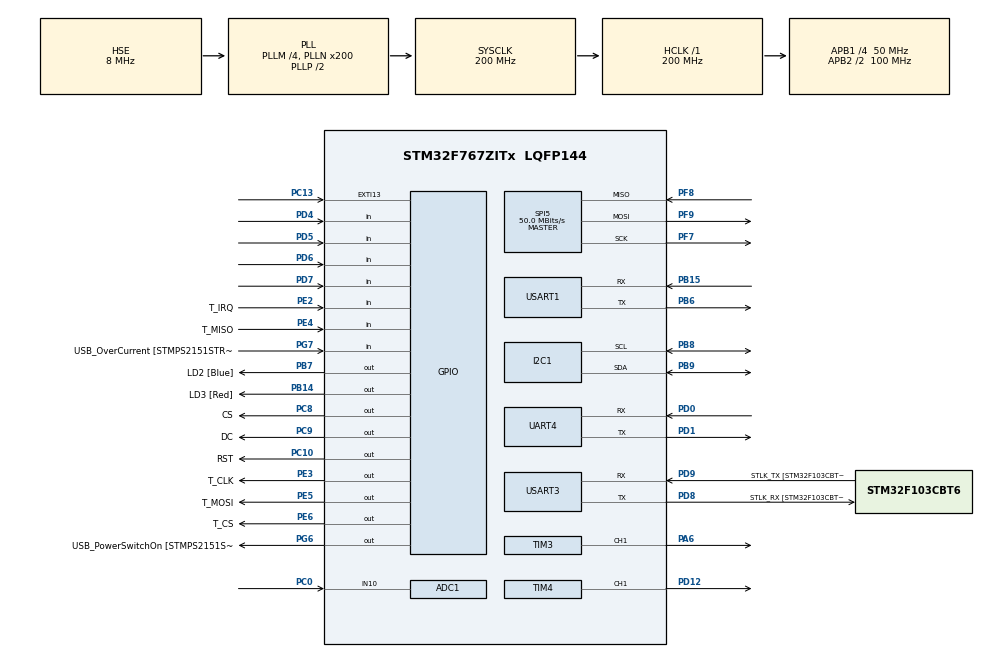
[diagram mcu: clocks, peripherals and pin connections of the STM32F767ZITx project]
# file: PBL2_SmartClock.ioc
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ADC1.Channel-0\#ChannelRegularConversion=ADC_CHANNEL_10
ADC1.ContinuousConvMode=ENABLE
ADC1.EOCSelection=ADC_EOC_SEQ_CONV
ADC1.NbrOfConversionFlag=1
ADC1.Rank-0\#ChannelRegularConversion=1
ADC1.SamplingTime-0\#ChannelRegularConversion=ADC_SAMPLETIME_3CYCLES
ADC1.master=1
CORTEX_M7.ART_ACCLERATOR_ENABLE=1
CORTEX_M7.CPU_DCache=Enabled
CORTEX_M7.CPU_ICache=Enabled
CORTEX_M7.PREFETCH_ENABLE=1
I2C1.Timing=0x00C0EAFF
Mcu.Family=STM32F7
Mcu.Name=STM32F767ZITx
Mcu.Package=LQFP144
NVIC.EXTI15_10_IRQn=true\:3\:0\:true\:false\:true\:true\:true
NVIC.PriorityGroup=NVIC_PRIORITYGROUP_4
NVIC.TIM1_UP_TIM10_IRQn=true\:1\:0\:true\:false\:true\:true\:true
NVIC.TIM2_IRQn=true\:2\:0\:true\:false\:true\:true\:true
PA1.GPIO_Label=RMII_REF_CLK [LAN8742A-CZ-TR_REFCLK0]
PA1.Signal=ETH_REF_CLK
PA13.GPIO_Label=TMS
PA13.Mode=Serial_Wire
PA13.Signal=SYS_JTMS-SWDIO
PA14.GPIO_Label=TCK
PA14.Mode=Serial_Wire
PA14.Signal=SYS_JTCK-SWCLK
PA2.GPIO_Label=RMII_MDIO [LAN8742A-CZ-TR_MDIO]
PA2.Signal=ETH_MDIO
PA6.Signal=S_TIM3_CH1
PA7.GPIO_Label=RMII_CRS_DV [LAN8742A-CZ-TR_CRS_DV]
PA7.Signal=ETH_CRS_DV
PB13.GPIO_Label=RMII_TXD1 [LAN8742A-CZ-TR_TXD1]
PB13.Signal=ETH_TXD1
PB14.GPIO_Label=LD3 [Red]
PB14.Signal=GPIO_Output
PB15.Mode=Asynchronous
PB15.Signal=USART1_RX
PB3.GPIO_Label=SWO
PB3.Signal=SYS_JTDO-SWO
PB6.Mode=Asynchronous
PB6.Signal=USART1_TX
PB7.GPIO_Label=LD2 [Blue]
PB7.Signal=GPIO_Output
PB8.Mode=I2C
PB8.Signal=I2C1_SCL
PB9.Mode=I2C
PB9.Signal=I2C1_SDA
PC0.Signal=ADCx_IN10
PC1.GPIO_Label=RMII_MDC [LAN8742A-CZ-TR_MDC]
PC1.Signal=ETH_MDC
PC10.GPIO_Label=RST
PC10.GPIO_Speed=GPIO_SPEED_FREQ_VERY_HIGH
PC10.Signal=GPIO_Output
PC13.GPIO_ModeDefaultEXTI=GPIO_MODE_IT_FALLING
PC13.Signal=GPXTI13
PC14/OSC32_IN.Mode=LSE-External-Oscillator
PC14/OSC32_IN.Signal=RCC_OSC32_IN
PC15/OSC32_OUT.Mode=LSE-External-Oscillator
PC15/OSC32_OUT.Signal=RCC_OSC32_OUT
PC4.GPIO_Label=RMII_RXD0 [LAN8742A-CZ-TR_RXD0]
PC4.Signal=ETH_RXD0
PC5.GPIO_Label=RMII_RXD1 [LAN8742A-CZ-TR_RXD1]
PC5.Signal=ETH_RXD1
PC8.GPIO_Label=CS
PC8.GPIO_Speed=GPIO_SPEED_FREQ_VERY_HIGH
PC8.Signal=GPIO_Output
PC9.GPIO_Label=DC
PC9.GPIO_Speed=GPIO_SPEED_FREQ_VERY_HIGH
PC9.Signal=GPIO_Output
PD0.Mode=Asynchronous
PD0.Signal=UART4_RX
PD1.Mode=Asynchronous
PD1.Signal=UART4_TX
PD12.Signal=S_TIM4_CH1
PD4.Signal=GPIO_Input
PD5.Signal=GPIO_Input
PD6.Signal=GPIO_Input
PD7.Signal=GPIO_Input
PD8.GPIO_Label=STLK_RX [STM32F103CBT6_PA3]
PD8.Mode=Asynchronous
PD8.Signal=USART3_TX
PD9.GPIO_Label=STLK_TX [STM32F103CBT6_PA2]
PD9.Mode=Asynchronous
PD9.Signal=USART3_RX
PE2.GPIO_Label=T_IRQ
PE2.Signal=GPIO_Input
PE3.GPIO_Label=T_CLK
PE3.GPIO_Speed=GPIO_SPEED_FREQ_VERY_HIGH
PE3.Signal=GPIO_Output
PE4.GPIO_Label=T_MISO
PE4.Signal=GPIO_Input
PE5.GPIO_Label=T_MOSI
PE5.GPIO_Speed=GPIO_SPEED_FREQ_VERY_HIGH
PE5.Signal=GPIO_Output
PE6.GPIO_Label=T_CS
PE6.GPIO_Speed=GPIO_SPEED_FREQ_VERY_HIGH
PE6.Signal=GPIO_Output
PF7.Mode=Full_Duplex_Master
PF7.Signal=SPI5_SCK
PF8.Mode=Full_Duplex_Master
PF8.Signal=SPI5_MISO
PF9.Mode=Full_Duplex_Master
PF9.Signal=SPI5_MOSI
PG11.GPIO_Label=RMII_TX_EN [LAN8742A-CZ-TR_TXEN]
PG11.Signal=ETH_TX_EN
PG13.GPIO_Label=RMII_TXD0 [LAN8742A-CZ-TR_TXD0]
PG13.Signal=ETH_TXD0
PG6.GPIO_Label=USB_PowerSwitchOn [STMPS2151STR_EN]
PG6.Signal=GPIO_Output
PG7.GPIO_Label=USB_OverCurrent [STMPS2151STR_FAULT]
PG7.Signal=GPIO_Input
PH0/OSC_IN.GPIO_Label=MCO [STM32F103CBT6_PA8]
PH0/OSC_IN.Mode=HSE-External-Clock-Source
PH0/OSC_IN.Signal=RCC_OSC_IN
PH1/OSC_OUT.Mode=HSE-External-Clock-Source
PH1/OSC_OUT.Signal=RCC_OSC_OUT
ProjectManager.HeapSize=0x200
ProjectManager.StackSize=0x400
ProjectManager.TargetToolchain=STM32CubeIDE
RCC.48MHZClocksFreq_Value=24000000
RCC.AHBFreq_Value=200000000
RCC.APB1CLKDivider=RCC_HCLK_DIV4
RCC.APB1Freq_Value=50000000
RCC.APB1TimFreq_Value=100000000
RCC.APB2CLKDivider=RCC_HCLK_DIV2
RCC.APB2Freq_Value=100000000
RCC.APB2TimFreq_Value=200000000
RCC.CortexFreq_Value=200000000
RCC.HCLKFreq_Value=200000000
RCC.HSE_VALUE=8000000
RCC.HSI_VALUE=16000000
RCC.PLLM=4
RCC.PLLMUL=RCC_PLL_MUL9
RCC.PLLN=200
RCC.PLLQ=9
RCC.PLLSourceVirtual=RCC_PLLSOURCE_HSE
RCC.PRESCALERUSB=RCC_USBCLKSOURCE_PLL_DIV1_5
RCC.SYSCLKFreq_VALUE=200000000
RCC.SYSCLKSource=RCC_SYSCLKSOURCE_PLLCLK
RCC.SYSCLKSourceVirtual=RCC_SYSCLKSOURCE_PLLCLK
RCC.USBFreq_Value=44444444.44444445
RCC.VCOOutputFreq_Value=400000000
SH.ADCx_IN10.0=ADC1_IN10,IN10
SH.S_TIM3_CH1.0=TIM3_CH1,PWM Generation1 CH1
SH.S_TIM4_CH1.0=TIM4_CH1,PWM Generation1 CH1
SPI5.CalculateBaudRate=50.0 MBits/s
SPI5.DataSize=SPI_DATASIZE_8BIT
SPI5.Direction=SPI_DIRECTION_2LINES
SPI5.Mode=SPI_MODE_MASTER
SPI5.NSSPMode=SPI_NSS_PULSE_DISABLE
SPI5.VirtualType=VM_MASTER
TIM1.ClockDivision=TIM_CLOCKDIVISION_DIV1
TIM1.Period=1000-1
TIM1.Prescaler=200-1
TIM2.CounterMode=TIM_COUNTERMODE_UP
TIM2.Period=50000-1
TIM2.Prescaler=1000-1
TIM3.Channel-PWM\ Generation1\ CH1=TIM_CHANNEL_1
TIM3.Period=100-1
TIM3.Prescaler=250-1
TIM3.Pulse-PWM\ Generation1\ CH1=100-1
TIM4.Channel-PWM\ Generation1\ CH1=TIM_CHANNEL_1
TIM4.Period=1000-1
TIM4.Prescaler=250-1
TIM4.Pulse-PWM\ Generation1\ CH1=1000-1
USART1.VirtualMode-Asynchronous=VM_ASYNC
USART3.VirtualMode-Asynchronous=VM_ASYNC
VP_RNG_VS_RNG.Mode=RNG_Activate
VP_TIM1_VS_ClockSourceINT.Mode=Internal
VP_TIM2_VS_ClockSourceINT.Mode=Internal
VP_TIM3_VS_ClockSourceINT.Mode=Internal
VP_TIM4_VS_ClockSourceINT.Mode=Internal
board=NUCLEO-F767ZI

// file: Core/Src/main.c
/* USER CODE BEGIN Header */
/**
  ******************************************************************************
  * @file           : main.c
  * @brief          : Main program body
  ******************************************************************************
  * @attention
  *
  * <h2><center>&copy; Copyright (c) 2021 STMicroelectronics.
  * All rights reserved.</center></h2>
  *
  * This software component is licensed by ST under BSD 3-Clause license,
  * the "License"; You may not use this file except in compliance with the
  * License. You may obtain a copy of the License at:
  *                        opensource.org/licenses/BSD-3-Clause
  *
  ******************************************************************************
  */
/* USER CODE END Header */
#include "main.h"
#include "adc.h"
#include "i2c.h"
#include "rng.h"
#include "spi.h"
#include "tim.h"
#include "usart.h"
#include "gpio.h"

/* USER CODE BEGIN Includes */
#include "string.h"
#include "stdio.h"
#include "ILI9341_Touchscreen.h"
#include "ILI9341_STM32_Driver.h"
#include "ILI9341_GFX.h"
#include "snow_tiger.h"
#include "am2320.h"
#include "stdbool.h"
#include "sps30.h"
#include "uart_to_mcu.h"

#include "EEPROM.h"
/* USER CODE END Includes */

/* USER CODE BEGIN PV */
/* Private variables ---------------------------------------------------------*/

//Temperature and Humid
int lightPercent = 100;
float temp = 99.9;
float humid = 99.9;
float pmTwoPointFive = 40.0; // ug/m^3
float prevTemp = -1.0;
float prevHumid = -1.0;
float prevPmTwoPointFive = -1.0;

//Alarm
int32_t alarmMinute = 0;
int32_t alarmHour = 0;

//Prev Clock Timer
int32_t prevAlarmMinute = -1;
int32_t prevAlarmHour = -1;

//Clock Timer
uint32_t millisecond = 0;
uint32_t millisecondStopWatch = 0;
uint32_t halfsecond = 0;

int32_t secondNum = 50;
int32_t minuteNum = 37;
int32_t hourNum = 12;

//Prev Clock Timer
int32_t prevSecondNum = -1;
int32_t prevMinuteNum = -1;
int32_t prevHourNum = -1;

//ADC
volatile uint32_t adc_val = 0;

//Timer States
bool halfsecondState = true;

//Text
char Temp_Buffer_text[100];

//Horizontal Clock Screen
uint16_t maxWidth = 200; //300 //Left 50 - right 50
uint16_t offsetWidth = 60;
uint16_t maxHeight = 240;

//Horizontal Date Clock Screen
uint16_t offsetWidthDate = 40;

//Main States
int16_t mode = 0;
int16_t modeEdit = 1;
int16_t prevMode = -1;
int16_t prevModeEdit = -1;

//Button states
bool pressButton1 = false;
bool pressButton2 = false;
bool pressButton3 = false;
bool pressButton4 = false;

bool isPressButton1 = false;
bool isPressButton2 = false;
bool isPressButton3 = false;
bool isPressButton4 = false;

bool userResetButton = false;

//Pm state
bool isPmSend = false;

//Alarm State
bool alarmIsOn = true;
bool alarmIsAlert = false;

//HAL Timers
uint64_t secondCounter = 0;
uint64_t prevSecondCounter = 0;
uint64_t millisecondHAL = 0;

uint64_t pmPrevMillisecondHAL = 0;
uint64_t pmSendPrevMillisecondHAL = 0;
uint64_t buzzerPrevMillisecondHAL = 0;
uint64_t alarmPrevMillisecondHAL = 0;
bool buzzerIsOn = false;
uint8_t alarmNumOfAlert = 0;

//Date Clock
int8_t date = 13; // 1-31
char* dayText[7] = {"SUN", "MON", "TUE", "WED", "THU", "FRI", "SAT"}; // 7 day names
char* monthText[12] = {"JAN", "FEB", "MAR", "APR", "MAY", "JUN", "JUL", "AUG", "SEP", "OCT", "NOV", "DEC"}; // 12 months    0 2 4 6 7 9 11 for 31 days
int8_t dayIndex = 1; // 0-6 only
int8_t monthIndex = 11; // 0-11 only
int16_t year = 2021; // year

//Prev Date Clock
int8_t prevDate = -1; // 1-31
int8_t prevDayIndex = -1; // 7 index day names
int8_t prevMonthIndex = -1; // 12  index months
int16_t prevYear = -1; // year

/* USER CODE END PV */

void SystemClock_Config(void);
/* USER CODE BEGIN PFP */
/* Private function prototypes -----------------------------------------------*/
uint16_t CRC16_2(uint8_t *, uint8_t);
/* USER CODE END PFP */

/* USER CODE BEGIN 0 */

//Buzzer Sound
void buzzerSound(uint32_t delay){

	if(alarmIsAlert == false){
		if(buzzerIsOn == true){
	//		char hexString[30];
	//		sprintf(hexString,"BUZZER....\r\n");
	//		HAL_UART_Transmit(&huart3, (uint8_t*) hexString, strlen(hexString), 1000);

			htim4.Instance->CCR1 = (1000 - 1) * 0.5;
			HAL_TIM_PWM_Start(&htim4, TIM_CHANNEL_1);
		}

		if(buzzerIsOn == true && millisecondHAL - buzzerPrevMillisecondHAL >= delay){
	//		char hexString[30];
	//		sprintf(hexString,"QUIT BUZZER\r\n");
	//		HAL_UART_Transmit(&huart3, (uint8_t*) hexString, strlen(hexString), 1000);

			HAL_TIM_PWM_Stop(&htim4, TIM_CHANNEL_1);
			buzzerIsOn = false;
			buzzerPrevMillisecondHAL = millisecondHAL;

		}
	}else{

		delay += 90;

		if(alarmNumOfAlert >= 60){
			alarmNumOfAlert = 0;
			alarmIsAlert = false;
		}

		if(alarmNumOfAlert % 4 == 0){
			delay += delay*2;
		}

		if(buzzerIsOn == false && millisecondHAL - buzzerPrevMillisecondHAL >= delay && alarmNumOfAlert < 60){
			buzzerIsOn = true;
			buzzerPrevMillisecondHAL = millisecondHAL;
			alarmNumOfAlert++;
		}

		if(buzzerIsOn == true){
//			char hexString[30];
//			sprintf(hexString,"BUZZER....\r\n");
//			HAL_UART_Transmit(&huart3, (uint8_t*) hexString, strlen(hexString), 1000);

			htim4.Instance->CCR1 = (1000 - 1) * 0.5;
			HAL_TIM_PWM_Start(&htim4, TIM_CHANNEL_1);

		}

		if(buzzerIsOn == true && millisecondHAL - buzzerPrevMillisecondHAL >= delay){
//			char hexString[30];
//			sprintf(hexString,"QUIT BUZZER\r\n");
//			HAL_UART_Transmit(&huart3, (uint8_t*) hexString, strlen(hexString), 1000);

			HAL_TIM_PWM_Stop(&htim4, TIM_CHANNEL_1);
			buzzerIsOn = false;
			buzzerPrevMillisecondHAL = millisecondHAL;

		}

	}

}

// Save EEPROM
void saveData(){
	//Clock
	EEPROM_Write_NUM (1, 0, hourNum);
	EEPROM_Write_NUM (2, 0, minuteNum);
	EEPROM_Write_NUM (3, 0, secondNum);

	//Date
	EEPROM_Write_NUM (4, 0, dayIndex);
	EEPROM_Write_NUM (5, 0, date);
	EEPROM_Write_NUM (6, 0, monthIndex);
	EEPROM_Write_NUM (7, 0, year);

	//Alarm
	EEPROM_Write_NUM (8, 0, alarmHour);
	EEPROM_Write_NUM (9, 0, alarmMinute);
	EEPROM_Write_NUM (10, 0, alarmIsOn);
}
// Read EEPROM
void readData(){
	//Clock
	hourNum = EEPROM_Read_NUM (1, 0);
	minuteNum = EEPROM_Read_NUM (2, 0);
	secondNum = EEPROM_Read_NUM (3, 0);

	//Date
	dayIndex = EEPROM_Read_NUM (4, 0);
	date = EEPROM_Read_NUM (5, 0);
	monthIndex = EEPROM_Read_NUM (6, 0);
	year = EEPROM_Read_NUM (7, 0);

	//Alarm
	alarmHour = EEPROM_Read_NUM (8, 0);
	alarmMinute = EEPROM_Read_NUM (9, 0);
	alarmIsOn = EEPROM_Read_NUM (10, 0);
}

// Erase EERPOM
void eraseAllData(){
	for (int i=0; i<512; i++)
	{
	  EEPROM_PageErase(i);
	}
	year = 2021;
	EEPROM_Write_NUM (7, 0, year); // override year
	readData(); // Read from Clean EEPROM
}

void checkResetData(){
	if(userResetButton == 1){
		eraseAllData();
		userResetButton = 0;
	}
}

// Paint screen black
void setHorizontalScreen(uint16_t color){
	ILI9341_Fill_Screen(color);
	ILI9341_Set_Rotation(SCREEN_HORIZONTAL_1);
}

bool check31Days(){
	if(monthIndex == 0 || monthIndex == 2 || monthIndex == 4 || monthIndex == 6 || monthIndex == 7 || monthIndex == 9 || monthIndex == 11){
		return true;
	}else{
		return false;
	}
}
void setDayOneIncrementMonth(uint8_t num){
	if(date > num){
		date = 1;
		if(mode != 100){
			monthIndex++;
		}
	}
}
void setDayX(uint8_t num){
	date = num;
}

void compareAlarmClock(){ //Check If alarmIsOn and equal to alarm setting, alert!
//	char hexString[30];
//	sprintf(hexString,"%d %d %d // %d %d\r\n",hourNum,minuteNum,secondNum,alarmHour,alarmMinute);
//	HAL_UART_Transmit(&huart3, (uint8_t*) hexString, strlen(hexString), 1000);
	if(alarmIsOn == true && hourNum == alarmHour && minuteNum == alarmMinute && secondNum == 0){
		alarmIsAlert = true;
		char hexString[30];
		sprintf(hexString,"Clock Alert! First Time\r\n");
		HAL_UART_Transmit(&huart3, (uint8_t*) hexString, strlen(hexString), 1000);
	}
}

void alarmClockSound(){

}

//Calculation
void calculationClock(){

	millisecondHAL = HAL_GetTick();

//	char hexString[30];
//	sprintf(hexString,"%d\r\n", millisecond);
//	HAL_UART_Transmit(&huart3, (uint8_t*) hexString, strlen(hexString), 1000);

	//Normal Clock
	if (millisecond >= 1000){
		millisecond = millisecond - 1000;
		secondNum++;
	}
	if (secondNum >= 60){
		secondNum = 0;
		if (mode != 100){
			minuteNum++;
		}
		compareAlarmClock();
	}
	if (minuteNum >= 60){
		minuteNum = 0;
		if (mode != 100){
			hourNum++;
		}
	}
	if (hourNum >= 24){
		hourNum = 0;
		if (mode != 100){
			dayIndex++;
			date++;
		}
	}
	//Normal Date
	if (dayIndex >= 7){
		dayIndex = 0;
	}
	if (year % 4 == 0){ //check for FEB 29 days
		if(monthIndex == 1){
			setDayOneIncrementMonth(29); // 29 days
		}else if(check31Days() == true){
			setDayOneIncrementMonth(31); // 31 days
		}else{
			setDayOneIncrementMonth(30); // 30 days
		}
	}else{
		if(monthIndex == 1){
			setDayOneIncrementMonth(28); // 28 days
		}else if(check31Days() == true){
			setDayOneIncrementMonth(31); // 31 days
		}else{
			setDayOneIncrementMonth(30); // 30 days
		}
	}
	if (monthIndex >= 12){
		monthIndex = 0;
		if (mode != 100){
			year++;
		}
	}
	if (year >= 10000){
		year = 1;
	}

	//check for editMode
	if(mode == 100){
		if (minuteNum < 0){
			minuteNum = 59;
		}
		if (hourNum < 0){
			hourNum = 23;
		}
		if (dayIndex < 0){
			dayIndex = 6;
		}
		if (date < 1){
			if (year % 4 == 0){ //check for FEB 29 days
				if(monthIndex == 1){
					setDayX(29); // 29 days
				}else if(check31Days() == true){
					setDayX(31); // 31 days
				}else{
					setDayX(30); // 30 days
				}
			}else{
				if(monthIndex == 1){
					setDayX(28); // 28 days
				}else if(check31Days() == true){
					setDayX(31); // 31 days
				}else{
					setDayX(30); // 30 days
				}
			}
		}
		if (monthIndex < 0){
			monthIndex = 11;
		}
		if (year < 1){
			year = 9999;
		}
	}

	saveData();
}

//Date Clock Atomic
void dayScreen(bool status, bool isEdit){

	if (prevDayIndex != dayIndex || isEdit == true){
		if (status == true){
			sprintf(Temp_Buffer_text, "%s", dayText[dayIndex]);
			ILI9341_Draw_Text(Temp_Buffer_text, offsetWidth + offsetWidthDate*0 -5, maxHeight * 0.1, WHITE, 2, BLACK);
		}
		else{
			sprintf(Temp_Buffer_text, "   ");
			ILI9341_Draw_Text(Temp_Buffer_text, offsetWidth + offsetWidthDate*0 -5, maxHeight * 0.1, WHITE, 2, BLACK);
		}
		prevDayIndex = dayIndex;
	}
}
void dateScreen(bool status, bool isEdit){
	if (prevDate != date || isEdit == true){
		if (status == true){
			sprintf(Temp_Buffer_text, "%02d", (int)date);
			ILI9341_Draw_Text(Temp_Buffer_text, offsetWidth + offsetWidthDate*1+8 -5, maxHeight * 0.1, WHITE, 2, BLACK);
		}
		else{
			sprintf(Temp_Buffer_text, "  ");
			ILI9341_Draw_Text(Temp_Buffer_text, offsetWidth + offsetWidthDate*1+8 -5, maxHeight * 0.1, WHITE, 2, BLACK);
		}
		prevDate = date;
	}
}
void monthScreen(bool status, bool isEdit){
	if (prevMonthIndex != monthIndex || isEdit == true){
		if (status == true){
			sprintf(Temp_Buffer_text, "%s", monthText[monthIndex]);
			ILI9341_Draw_Text(Temp_Buffer_text, offsetWidth + offsetWidthDate*2 -5, maxHeight * 0.1, WHITE, 2, BLACK);
		}
		else{
			sprintf(Temp_Buffer_text, "   ");
			ILI9341_Draw_Text(Temp_Buffer_text, offsetWidth + offsetWidthDate*2 -5, maxHeight * 0.1, WHITE, 2, BLACK);
		}
		prevMonthIndex = monthIndex;
	}
}
void yearScreen(bool status, bool isEdit){
	if (prevYear != year || isEdit == true){
		if (status == true){
			sprintf(Temp_Buffer_text, "%04d", (int)year);
			ILI9341_Draw_Text(Temp_Buffer_text, offsetWidth + offsetWidthDate*3+8 -5, maxHeight * 0.1, WHITE, 2, BLACK);
		}
		else{
			sprintf(Temp_Buffer_text, "    ");
			ILI9341_Draw_Text(Temp_Buffer_text, offsetWidth + offsetWidthDate*3+8 -5, maxHeight * 0.1, WHITE, 2, BLACK);
		}
		prevYear = year;
	}
}

//Display Date Clock Screen
void displayDateScreen(){
	dayScreen(true, false);
	dateScreen(true, false);
	monthScreen(true, false);
	yearScreen(true, false);
}

void displayAlarmIcon(bool on){
	if(on == true){
		//Alarm
		ILI9341_Draw_Filled_Circle(maxWidth * 0.92 + offsetWidth, maxHeight * 0.13, 6, YELLOW);
		ILI9341_Draw_Filled_Circle(maxWidth * 0.92 + offsetWidth, maxHeight * 0.16-1, 3, YELLOW);
		ILI9341_Draw_Filled_Rectangle_Coord(maxWidth*0.9 +offsetWidth-6, maxHeight * 0.1 +9, maxWidth*0.9 +offsetWidth+14, maxHeight * 0.1 +13, YELLOW);
		ILI9341_Draw_Hollow_Rectangle_Coord(maxWidth*0.9 +offsetWidth-6, maxHeight * 0.1 +9, maxWidth*0.9 +offsetWidth+14, maxHeight * 0.1 +13, BLACK);
	}else{
		//Alarm (Black Icon)
		ILI9341_Draw_Filled_Circle(maxWidth * 0.92 + offsetWidth, maxHeight * 0.13, 6, BLACK);
		ILI9341_Draw_Filled_Circle(maxWidth * 0.92 + offsetWidth, maxHeight * 0.16-1, 3, BLACK);
		ILI9341_Draw_Filled_Rectangle_Coord(maxWidth*0.9 +offsetWidth-6, maxHeight * 0.1 +9, maxWidth*0.9 +offsetWidth+14, maxHeight * 0.1 +13, BLACK);
		ILI9341_Draw_Hollow_Rectangle_Coord(maxWidth*0.9 +offsetWidth-6, maxHeight * 0.1 +9, maxWidth*0.9 +offsetWidth+14, maxHeight * 0.1 +13, BLACK);
	}
}

//Top Screen
void topBarScreen(){
	displayDateScreen();

	displayAlarmIcon(alarmIsOn);
}

//Reset Prev Values
void resetPrevNum(){
	prevSecondNum = -1;
	prevMinuteNum = -1;
	prevHourNum = -1;

	prevDayIndex = -1;
	prevDate = -1;
	prevMonthIndex = -1;
	prevYear = -1;

	prevTemp = -1.0;
	prevHumid = -1.0;
	prevPmTwoPointFive = -1.0;
}

//Clock Screen Atomic
void hourScreen(bool status, bool isEdit){
	if (prevHourNum != hourNum || isEdit == true){
		if (status == true){
			sprintf(Temp_Buffer_text, "%02d", (int)hourNum);
			ILI9341_Draw_Text(Temp_Buffer_text, maxWidth * 0 + offsetWidth - 5, maxHeight * 0.3, WHITE, 6, BLACK);
		}
		else{
			sprintf(Temp_Buffer_text, "  ");
			ILI9341_Draw_Text(Temp_Buffer_text, maxWidth * 0 + offsetWidth - 5, maxHeight * 0.3, WHITE, 6, BLACK);
		}
		prevHourNum = hourNum;
	}
}

void colonScreen(bool status){
	if (status == true){
		sprintf(Temp_Buffer_text, ":");
		ILI9341_Draw_Text(Temp_Buffer_text, maxWidth * 0 + offsetWidth + 73, maxHeight * 0.35, WHITE, 4, BLACK);
	}
	else{
		sprintf(Temp_Buffer_text, " ");
		ILI9341_Draw_Text(Temp_Buffer_text, maxWidth * 0 + offsetWidth + 73, maxHeight * 0.35, WHITE, 4, BLACK);
	}
}
void minuteScreen(bool status, bool isEdit){
	if (prevMinuteNum != minuteNum || isEdit == true){
		if (status == true){

			sprintf(Temp_Buffer_text, "%02d", (int)minuteNum);
			ILI9341_Draw_Text(Temp_Buffer_text, maxWidth * 0 + offsetWidth + 97, maxHeight * 0.3, WHITE, 6, BLACK);
		}
		else{
			sprintf(Temp_Buffer_text, "  ");
			ILI9341_Draw_Text(Temp_Buffer_text, maxWidth * 0 + offsetWidth + 97, maxHeight * 0.3, WHITE, 6, BLACK);
		}
		prevMinuteNum = minuteNum;
	}
}
void secondScreen(bool status, bool isEdit){
	if (prevSecondNum != secondNum || isEdit == true){
		if (status == true){
			sprintf(Temp_Buffer_text, "%02d", (int)secondNum);
			ILI9341_Draw_Text(Temp_Buffer_text, maxWidth * 0.90 + offsetWidth -3, maxHeight * 0.42, WHITE, 2, BLACK);
		}
		else{
			sprintf(Temp_Buffer_text, "  ");
			ILI9341_Draw_Text(Temp_Buffer_text, maxWidth * 0.90 + offsetWidth -3, maxHeight * 0.42, WHITE, 2, BLACK);
		}
		prevSecondNum = secondNum;
	}
}

//Display Clock Screen
void displayClockScreen(){

	if (halfsecondState == false){ // colon behaviour
		colonScreen(true);
	}
	else{
		colonScreen(false);
	}

	secondScreen(true, false);
	minuteScreen(true, false);
	hourScreen(true, false);
}

void staticClockScreen(){
	colonScreen(true);
	hourScreen(true, false);
	minuteScreen(true, false);
	secondScreen(true, false);
}

//Edit Clock Screen
void editHourScreen()
{
	displayDateScreen(); // Init first
	colonScreen(true);
	minuteScreen(true, false);
	secondScreen(true, false);

	if (halfsecondState == false){ // hour
		hourScreen(false, true);
	}
	else{
		hourScreen(true, true);
	}
}
void editMinuteScreen(){

	colonScreen(true);
	hourScreen(true, false);
	secondScreen(true, false);

	if (halfsecondState == false){ //minute
		minuteScreen(false, true);
	}
	else{
		minuteScreen(true, true);
	}
}
void editSecondScreen(){

	colonScreen(true);
	hourScreen(true, false);
	minuteScreen(true, false);

	if (halfsecondState == false){ //second
		secondScreen(false, true);
	}
	else{
		secondScreen(true, true);
	}
}

//Edit Date Clock Screen
void editDayScreen()
{
	dateScreen(true, false);
	monthScreen(true, false);
	yearScreen(true, false);

	if (halfsecondState == false){ // day
		dayScreen(false, true);
	}
	else{
		dayScreen(true, true);
	}
}
void editDateScreen()
{
	dayScreen(true, false);
	monthScreen(true, false);
	yearScreen(true, false);

	if (halfsecondState == false){ // date
		dateScreen(false, true);
	}
	else{
		dateScreen(true, true);
	}
}
void editMonthScreen()
{
	dayScreen(true, false);
	dateScreen(true, false);
	yearScreen(true, false);

	if (halfsecondState == false){ // month
		monthScreen(false, true);
	}
	else{
		monthScreen(true, true);
	}
}
void editYearScreen()
{
	staticClockScreen(); // init Clock first in editing mode
	dayScreen(true, false);
	dateScreen(true, false);
	monthScreen(true, false);

	if (halfsecondState == false){ // day
		yearScreen(false, true);
	}
	else{
		yearScreen(true, true);
	}
}

//Bottom Screen
void bottomBarScreen(){

	uint8_t size = 2;
	uint8_t bottomHeight = maxHeight * 0.87;
	uint8_t bottomWidth1 = maxWidth * 0 + 51;
	uint8_t bottomWidth2 = maxWidth * 0.25 + 51;
	uint8_t bottomWidth3 = maxWidth * 0.50 + 51;
	uint8_t bottomWidth4 = maxWidth * 0.75 + 51;
	uint8_t bottomWidth = 55;

	//Rectangle Background Color
	ILI9341_Draw_Filled_Rectangle_Coord(bottomWidth1, bottomHeight, bottomWidth1 + bottomWidth, maxHeight, RED);
	ILI9341_Draw_Filled_Rectangle_Coord(bottomWidth2, bottomHeight, bottomWidth2 + bottomWidth, maxHeight, YELLOW);
	ILI9341_Draw_Filled_Rectangle_Coord(bottomWidth3, bottomHeight, bottomWidth3 + bottomWidth, maxHeight, CYAN);
	ILI9341_Draw_Filled_Rectangle_Coord(bottomWidth4, bottomHeight, bottomWidth4 + bottomWidth, maxHeight, GREEN);

	//Text Layout
	sprintf(Temp_Buffer_text, "MOD");
	ILI9341_Draw_Text(Temp_Buffer_text, maxWidth * 0 + offsetWidth, maxHeight * 0.9, BLACK, size, RED);
	sprintf(Temp_Buffer_text, "ADJ");
	ILI9341_Draw_Text(Temp_Buffer_text, maxWidth * 0.25 + offsetWidth, maxHeight * 0.9, BLACK, size, YELLOW);
	sprintf(Temp_Buffer_text, "BWD");
	ILI9341_Draw_Text(Temp_Buffer_text, maxWidth * 0.5 + offsetWidth, maxHeight * 0.9, BLACK, size, CYAN);
	sprintf(Temp_Buffer_text, "FWD");
	ILI9341_Draw_Text(Temp_Buffer_text, maxWidth * 0.75 + offsetWidth, maxHeight * 0.9, BLACK, size, GREEN);
}
void bottomBarScreenUpdate(){

	uint8_t size = 2;
	uint8_t bottomWidth1 = maxWidth * 0 + 51;
	uint8_t bottomHeight = maxHeight * 0.87;
	uint8_t bottomWidth4 = maxWidth * 0.75 + 51;
	uint8_t bottomWidth = 55;

	//Update Temperature
	if(prevTemp != temp){
		sprintf(Temp_Buffer_text, "%0.1f 'C", temp);
		ILI9341_Draw_Text(Temp_Buffer_text, maxWidth * 0.0 + offsetWidth, maxHeight * 0.7-10, WHITE, size, BLACK);
		prevTemp = temp;
		ILI9341_Draw_Hollow_Rectangle_Coord(bottomWidth1, bottomHeight-45-10, bottomWidth4 + bottomWidth, maxHeight-52-10, WHITE);
	}
	//Update Humidity
	if(prevHumid != humid){
		sprintf(Temp_Buffer_text, "%0.1f %%", humid);
		ILI9341_Draw_Text(Temp_Buffer_text, maxWidth * 0.55 + offsetWidth, maxHeight * 0.7-10, WHITE, size, BLACK);
		prevHumid = humid;
		ILI9341_Draw_Hollow_Rectangle_Coord(bottomWidth1, bottomHeight-45-10, bottomWidth4 + bottomWidth, maxHeight-52-10, WHITE);
	}
	//Update PM2.5
	if(prevPmTwoPointFive != pmTwoPointFive){ // update this value please
		sprintf(Temp_Buffer_text, "      %03d ug/m^3", (int)pmTwoPointFive);
		ILI9341_Draw_Text(Temp_Buffer_text, maxWidth * 0.0 + offsetWidth, maxHeight * 0.7+18, WHITE, size, BLACK); // Change color

		sprintf(Temp_Buffer_text, "PM2.5");
		ILI9341_Draw_Text(Temp_Buffer_text, maxWidth * 0.0 + offsetWidth, maxHeight * 0.7+18, WHITE, size, BLACK);

		prevPmTwoPointFive = pmTwoPointFive;
		ILI9341_Draw_Hollow_Rectangle_Coord(bottomWidth1, bottomHeight-45+18, bottomWidth4 + bottomWidth, maxHeight-52+18, WHITE);
	}
}

void notifyPm(){
	float *respondRead;
		respondRead = read_sensirion();

	if(respondRead[1] > 0 && respondRead[1] <= 9999 &&
		respondRead[2] > 0 && respondRead[2] <= 9999 &&
		respondRead[3] > 0 && respondRead[3] <= 9999 &&
		respondRead[4] > 0 && respondRead[4] <= 9999){

		if(respondRead[1] >= 999){
			respondRead[1] = 999;
		}
		if(respondRead[2] >= 999){
			respondRead[2] = 999;
		}
		if(respondRead[3] >= 999){
			respondRead[3] = 999;
		}
		if(respondRead[4] >= 999){
			respondRead[4] = 999;
		}

		pmTwoPointFive = respondRead[1];

		if(isPmSend == false){
			if(respondRead[1]>=250){
				sent_string_to_mcu("HAZ");
			}
			else if(respondRead[1]>=150){
				sent_string_to_mcu("VUH");
			}
			else if(respondRead[1]>=55){
				sent_string_to_mcu("UHT");
			}
			if(respondRead[1]>=55){
				println("Danger Air");
				println("Sending");
				char stringBuffer[500];
				sprintf(stringBuffer, "EXC %.2f %.2f %.2f %.2f %.2f %.2f %.2f %.2f %.2f %.2f" , respondRead[0], respondRead[1], respondRead[2], respondRead[3], respondRead[4], respondRead[5], respondRead[6], respondRead[7], respondRead[8], respondRead[9]);
				sent_string_to_mcu(stringBuffer);

				isPmSend = true;
				pmSendPrevMillisecondHAL = millisecondHAL;
			}
			else{
				println("Normal Air");
			}
		}

	}

	if(millisecondHAL - pmSendPrevMillisecondHAL >= 10000){
		isPmSend = false;
		pmSendPrevMillisecondHAL = millisecondHAL;
	}

//	float* respondRead;
//
//	println("zzz");
//	if(millisecondHAL - pmPrevMillisecondHAL >= 1000){
//		pmPrevMillisecondHAL = millisecondHAL;
//
//		println("xxxx");
//		respondRead = read_sensirion();
//
//		println("aaaaaaaaa");
//	}
//	println("HAHAHAHA");
//
//	if(respondRead[1] >= 0 && respondRead[1] <= 9999 &&
//		respondRead[2] >= 0 && respondRead[2] <= 9999 &&
//		respondRead[3] >= 0 && respondRead[3] <= 9999 &&
//		respondRead[4] >= 0 && respondRead[4] <= 9999
//	  ){
//
//		pmTwoPointFive = respondRead[1];
//
//		if(isPmSend == false){
//			if(respondRead[1]>=250){
//				sent_string_to_mcu("HAZ");
//			}
//			else if(respondRead[1]>=150){
//				sent_string_to_mcu("VUH");
//			}
//			else if(respondRead[1]>=55){
//				sent_string_to_mcu("UHT");
//			}
//			if(respondRead[1]>=55){
//				println("Danger Air");
//				println("Sending");
//				char stringBuffer[500];
//				sprintf(stringBuffer, "EXC %.2f %.2f %.2f %.2f %.2f %.2f %.2f %.2f %.2f %.2f" , respondRead[0], respondRead[1], respondRead[2], respondRead[3], respondRead[4], respondRead[5], respondRead[6], respondRead[7], respondRead[8], respondRead[9]);
//				sent_string_to_mcu(stringBuffer);
//
//				isPmSend = true;
//				pmSendPrevMillisecondHAL = millisecondHAL;
//			}
//			else{
//				println("Normal Air");
//			}
//		}
//	}
//
//	println("WTFFFFFFFFFFFFFFFFFFFFFFFFFFFFFFFFFFFF");
//
//	if(millisecondHAL - pmSendPrevMillisecondHAL >= 10000){
//		isPmSend = false;
//		pmSendPrevMillisecondHAL = millisecondHAL;
//	}
}

void resisterMonitor(){

	  float dutyCycleScreen = 0.0;
	  while(HAL_ADC_PollForConversion(&hadc1, 100) != HAL_OK){}
	  adc_val = HAL_ADC_GetValue(&hadc1);
	  lightPercent = adc_val*100 / 4095;

	  //Change Screen Light Output
	  //PWM
	  dutyCycleScreen = ((adc_val/4095.0) * 0.8) + 0.2;
	  //No. 2
	  htim3.Instance -> CCR1 = (100-1) * dutyCycleScreen;

	  HAL_TIM_PWM_Start(&htim3, TIM_CHANNEL_1);
}

int32_t stopWatchHour = 0;
int32_t stopWatchMinute = 0;
int32_t stopWatchSecond = 0;
int32_t stopWatchMillisecond = 0;
int32_t prevStopWatchHour = -1;
int32_t prevStopWatchMinute = -1;
int32_t prevStopWatchSecond = -1;
int32_t prevStopWatchMillisecond = -1;

//State
bool initialStopWatchScreen = false;
bool isStopWatchRunning = false;

void resetPrevStopWatch(){
	prevStopWatchHour = -1;
	prevStopWatchMinute = -1;
	prevStopWatchSecond = -1;
	prevStopWatchMillisecond = -1;
}
void resetStopWatch(){
	stopWatchHour = 0;
	stopWatchMinute = 0;
	stopWatchSecond = 0;
	stopWatchMillisecond = 0;
	resetPrevStopWatch();
}

void displayStopWatchScreen(){
	if(stopWatchHour < 1){ // Normal StopWatch Mode
		if(prevStopWatchMinute != stopWatchMinute){
			sprintf(Temp_Buffer_text, "%02d", (int)stopWatchMinute);
			ILI9341_Draw_Text(Temp_Buffer_text, offsetWidth, maxHeight * 0.35+16, WHITE, 5, BLACK);
			prevStopWatchMinute = stopWatchMinute;
		}
		if(prevStopWatchSecond != stopWatchSecond){
			sprintf(Temp_Buffer_text, "%02d", (int)stopWatchSecond);
			ILI9341_Draw_Text(Temp_Buffer_text, offsetWidth+70, maxHeight * 0.35+16, WHITE, 5, BLACK);
			prevStopWatchSecond = stopWatchSecond;
		}
		if(prevStopWatchMillisecond != stopWatchMillisecond){
			sprintf(Temp_Buffer_text, "%02d", (int)((stopWatchMillisecond/10)%100));
			ILI9341_Draw_Text(Temp_Buffer_text, offsetWidth+140, maxHeight * 0.35+16, WHITE, 5, BLACK);
			prevStopWatchMillisecond = stopWatchMillisecond;
		}
	}else if (stopWatchHour >= 1){ // counting more than equal to 1 hour
		if(prevStopWatchHour != stopWatchHour){
			sprintf(Temp_Buffer_text, "%02d", (int)stopWatchHour);
			ILI9341_Draw_Text(Temp_Buffer_text, offsetWidth, maxHeight * 0.35+16, WHITE, 5, BLACK);
			prevStopWatchHour = stopWatchHour;
		}
		if(prevStopWatchMinute != stopWatchMinute){
			sprintf(Temp_Buffer_text, "%02d", (int)stopWatchMinute);
			ILI9341_Draw_Text(Temp_Buffer_text, offsetWidth+70, maxHeight * 0.35+16, WHITE, 5, BLACK);
			prevStopWatchMinute = stopWatchMinute;
		}
		if(prevStopWatchSecond != stopWatchSecond){
			sprintf(Temp_Buffer_text, "%02d", (int)stopWatchSecond);
			ILI9341_Draw_Text(Temp_Buffer_text, offsetWidth+140, maxHeight * 0.35+16, WHITE, 5, BLACK);
			prevStopWatchSecond = stopWatchSecond;
		}
	}
}

void stopWatchScreen(){

	if(initialStopWatchScreen == false){
		resetPrevStopWatch();
		//Statics
		displayAlarmIcon(alarmIsOn);

		sprintf(Temp_Buffer_text, "Stopwatch");
		ILI9341_Draw_Text(Temp_Buffer_text, offsetWidth + offsetWidthDate*0, maxHeight * 0.1, WHITE, 2, BLACK);

		sprintf(Temp_Buffer_text, ":");
		ILI9341_Draw_Text(Temp_Buffer_text, offsetWidth+60, maxHeight * 0.37+16, WHITE, 4, BLACK);
		sprintf(Temp_Buffer_text, ":");
		ILI9341_Draw_Text(Temp_Buffer_text, offsetWidth+130, maxHeight * 0.37+16, WHITE, 4, BLACK);

		initialStopWatchScreen = true;
	}

	//Time running
	if(isStopWatchRunning == true){
		stopWatchMillisecond += millisecondStopWatch;
		millisecondStopWatch = 0;
	}

	//Normal Clock
	if (stopWatchMillisecond >= 1000){
		stopWatchMillisecond = stopWatchMillisecond - 1000; //Keep remainder of millisecondStopWatch
		stopWatchSecond++;
	}
	if (stopWatchSecond >= 60){
		stopWatchSecond = 0;
		stopWatchMinute++;
	}
	if (stopWatchMinute >= 60){
		stopWatchMinute = 0;
		stopWatchHour++;
	}
	if (stopWatchHour >= 99){
		stopWatchHour = 0;
	}

	//Running
	displayStopWatchScreen();

//	char hexString[30];
//	sprintf(hexString,"%d %d\r\n",prevStopWatchHour,stopWatchHour);
//	HAL_UART_Transmit(&huart3, (uint8_t*) hexString, strlen(hexString), 1000);

}

//State
bool initialAlarmClockScreen = false;
bool initialEditAlarmClockScreen = false;

void resetPrevAlarm(){
	prevAlarmMinute = -1;
	prevAlarmHour = -1;
}

void hourAlarmScreen(bool status, bool isEdit){
	if (prevAlarmHour != alarmHour || isEdit == true){
		if (status == true){
			sprintf(Temp_Buffer_text, "%02d", (int)alarmHour);
			ILI9341_Draw_Text(Temp_Buffer_text, maxWidth * 0 + offsetWidth, maxHeight * 0.3 +10, WHITE, 6, BLACK);
		}
		else{
			sprintf(Temp_Buffer_text, "  ");
			ILI9341_Draw_Text(Temp_Buffer_text, maxWidth * 0 + offsetWidth, maxHeight * 0.3 +10, WHITE, 6, BLACK);
		}
		prevAlarmHour = alarmHour;
	}
}

void minuteAlarmScreen(bool status, bool isEdit){
	if (prevAlarmMinute != alarmMinute || isEdit == true){
		if (status == true){

			sprintf(Temp_Buffer_text, "%02d", (int)alarmMinute);
			ILI9341_Draw_Text(Temp_Buffer_text, maxWidth * 0 + offsetWidth + 110, maxHeight * 0.3 +10, WHITE, 6, BLACK);
		}
		else{
			sprintf(Temp_Buffer_text, "  ");
			ILI9341_Draw_Text(Temp_Buffer_text, maxWidth * 0 + offsetWidth + 110, maxHeight * 0.3 +10, WHITE, 6, BLACK);
		}
		prevAlarmMinute = alarmMinute;
	}
}
void colonAlarmScreen(){
	sprintf(Temp_Buffer_text, ":");
	ILI9341_Draw_Text(Temp_Buffer_text, maxWidth * 0 + offsetWidth + 80, maxHeight * 0.35 +10, WHITE, 4, BLACK);
}

void alarmClockScreen(){
	if(initialAlarmClockScreen == false){
		resetPrevAlarm();

		//Statics
		sprintf(Temp_Buffer_text, "Alarm");
		ILI9341_Draw_Text(Temp_Buffer_text, offsetWidth + offsetWidthDate*0, maxHeight * 0.1, WHITE, 2, BLACK);

		displayAlarmIcon(alarmIsOn);

		colonAlarmScreen();
		hourAlarmScreen(true,false);
		minuteAlarmScreen(true,false);

		initialAlarmClockScreen = true;
	}
}

void editScreen(){
	if(modeEdit == 1){
		editYearScreen();
	}else if (modeEdit == 2){
		editMonthScreen();
	}else if (modeEdit == 3){
		editDateScreen();
	}else if (modeEdit == 4){
		editDayScreen();
	}else if (modeEdit == 5){
		editHourScreen();
	}else if (modeEdit == 6){
		editMinuteScreen();
	}else if (modeEdit == 7){
		editSecondScreen();
	}
}
void editAlarmHourScreen(){

	minuteAlarmScreen(true,false);

	if (halfsecondState == false){ // Hour
		hourAlarmScreen(false, true);
	}
	else{
		hourAlarmScreen(true, true);
	}
}

void editAlarmMinuteScreen(){
	hourAlarmScreen(true,false);

	if (halfsecondState == false){ // Minute
		minuteAlarmScreen(false, true);
	}
	else{
		minuteAlarmScreen(true, true);
	}
}
void editAlarmScreen(){
	if(initialEditAlarmClockScreen == false){
		resetPrevAlarm();
		displayAlarmIcon(alarmIsOn);

		sprintf(Temp_Buffer_text, "Alarm");
		ILI9341_Draw_Text(Temp_Buffer_text, offsetWidth + offsetWidthDate*0, maxHeight * 0.1, WHITE, 2, BLACK);

		hourAlarmScreen(true,false);
		minuteAlarmScreen(true,false);

		initialEditAlarmClockScreen = true;
	}

	//Algorithm Calculation
	if (alarmMinute >= 60){
		alarmMinute = 0;
	}
	else if(alarmMinute < 0){
		alarmMinute = 59;
	}
	if (alarmHour >= 24){
		alarmHour = 0;
	}
	else if(alarmHour < 0){
		alarmHour = 23;
	}

	if(modeEdit == 1){
		editAlarmHourScreen();
	}else if (modeEdit == 2){
		editAlarmMinuteScreen();
	}
}

char str[50];
uint8_t cmdBuffer[3];
uint8_t dataBuffer[8];

void tempMonitor(){
	//Temperature
	cmdBuffer[0] = 0x03;
	cmdBuffer[1] = 0x00;
	cmdBuffer[2] = 0x04;

	//Send Temp & Humid via UART3
//	sprintf(str, "Temperature = %4.1f\tHumidity = %4.1f\n\r", temp, humid);
//	while(__HAL_UART_GET_FLAG(&huart3,UART_FLAG_TC)==RESET){}
//	HAL_UART_Transmit(&huart3, (uint8_t*) str, strlen(str),200);

	//HAL_Delay(5000); //>3000 ms
	//HAL_GPIO_TogglePin(GPIOB, GPIO_PIN_0);

	//Wake up sensor
	HAL_I2C_Master_Transmit(&hi2c1, 0x5c<<1, cmdBuffer, 3, 200);
	//Send reading command
	HAL_I2C_Master_Transmit(&hi2c1, 0x5c<<1, cmdBuffer, 3, 200);

	HAL_Delay(80); // 50 is too low, 80 is okay

	//Receive sensor data
	HAL_I2C_Master_Receive(&hi2c1, 0x5c<<1, dataBuffer, 8, 200);

	uint16_t Rcrc = dataBuffer[7] << 8;
	Rcrc += dataBuffer[6];
	if (Rcrc == CRC16_2(dataBuffer, 6)) {
		uint16_t temperature = ((dataBuffer[4] & 0x7F) << 8) + dataBuffer[5];
		temp = temperature / 10.0;
		temp = (((dataBuffer[4] & 0x80) >> 7)== 1) ? (temp * (-1)) : temp ; // the temperature can be negative

		uint16_t humidity = (dataBuffer[2] << 8) + dataBuffer[3];
		humid = humidity / 10.0;
	}
}

/* USER CODE END 0 */

int main(void)
{

  /* Enable I-Cache---------------------------------------------------------*/
  SCB_EnableICache();

  /* Enable D-Cache---------------------------------------------------------*/
  SCB_EnableDCache();

  /* MCU Configuration--------------------------------------------------------*/

  /* Reset of all peripherals, Initializes the Flash interface and the Systick. */
  HAL_Init();

  /* Configure the system clock */
  SystemClock_Config();

  /* Initialize all configured peripherals */
  MX_GPIO_Init();
  MX_USART3_UART_Init();
  MX_SPI5_Init();
  MX_TIM1_Init();
  MX_RNG_Init();
  MX_I2C1_Init();
  MX_TIM2_Init();
  MX_TIM3_Init();
  MX_USART1_UART_Init();
  MX_UART4_Init();
  MX_ADC1_Init();
  MX_TIM4_Init();
  /* USER CODE BEGIN 2 */

	//Temp but not has code in here yet
	cmdBuffer[0] = 0x03;
	cmdBuffer[1] = 0x00;
	cmdBuffer[2] = 0x04;

	//initial driver setup to drive ili9341
	ILI9341_Init();

	//Interrupt millisecond
	HAL_TIM_Base_Start_IT(&htim1);
	HAL_TIM_Base_Start_IT(&htim2);

	//Reset Screen
	setHorizontalScreen(BLACK);

	//Read EEPROM First Time
	readData();

	//ADC Input variable Resister(Light)
	HAL_ADC_Start(&hadc1);

	// Setup PM Sensor
	uint8_t* respondStart;
	respondStart = wake_sensirion();
	sent_string_to_mcu("STA");

  /* USER CODE END 2 */

  /* Infinite loop */
	while (1)
	{

    /* USER CODE BEGIN 3 */

		// REAL CODE BEGIN

		calculationClock();
		checkResetData();
		resisterMonitor(); //light screen

		if (prevMode != mode || prevModeEdit != modeEdit){
			prevModeEdit = modeEdit;
			resetPrevNum();
			resetPrevAlarm();
		}
		// When Change Mode
		if (prevMode != mode){
			prevMode = mode;
			setHorizontalScreen(BLACK);
			bottomBarScreen();

			//For Mode 1 StopWatch
			initialStopWatchScreen = false;
			//For Mode 2 Alarm
			initialAlarmClockScreen = false;
			//For mode 200 Edit Alarm
			initialEditAlarmClockScreen = false;
		}

		if(mode == 0){
			if (halfsecond == 1){	// render every 500 ms
				halfsecondState = !halfsecondState; // check appearing of colon (:) in clock
				halfsecond = 0;

				tempMonitor(); // read every 500 ms
				notifyPm(); // read every 500 ms

				topBarScreen();
				displayClockScreen();
				bottomBarScreenUpdate();
			}
		}else if(mode == 1){	// No Notify Line at this mode because has delay
			stopWatchScreen();
		}else if(mode == 2){
			alarmClockScreen();
			if(halfsecond ==1){
				notifyPm(); // read every 500 ms
			}
		}else if (mode == 100){ // Adjust modeEdit 1-year, 2-month, 3-date, 4-day, 5-hour, 6-minute, 7-second

			if(halfsecond == 1){ // render every 500 ms
				halfsecondState = !halfsecondState; // check appearing of colon (:) in clock
				halfsecond = 0;

				notifyPm(); // read every 500 ms
				editScreen();
			}
		}else if (mode == 200){
			if(halfsecond == 1){ // render every 500 ms
				halfsecondState = !halfsecondState; // check appearing of colon (:) in clock
				halfsecond = 0;

				notifyPm(); // read every 500 ms
				editAlarmScreen();
			}
		}

		pressButton1 = !HAL_GPIO_ReadPin(GPIOD, GPIO_PIN_7); // pressButton1 is "true" when press, is "false" when not press
		pressButton2 = !HAL_GPIO_ReadPin(GPIOD, GPIO_PIN_6); // pressButton1 is "true" when press, is "false" when not press
		pressButton3 = !HAL_GPIO_ReadPin(GPIOD, GPIO_PIN_5); // pressButton1 is "true" when press, is "false" when not press
		pressButton4 = !HAL_GPIO_ReadPin(GPIOD, GPIO_PIN_4); // pressButton1 is "true" when press, is "false" when not press

		// NO BUTTON !!! THIS IS TEMPORARY
//		pressButton1 = 0;
//		pressButton2 = 0;
//		pressButton3 = 0;
//		pressButton4 = 0;

		//Buzzer
		if ((pressButton1 == true && isPressButton1 == false) ||
			(pressButton2 == true && isPressButton2 == false) ||
			(pressButton3 == true && isPressButton3 == false) ||
			(pressButton4 == true && isPressButton4 == false)){
			buzzerIsOn = true;
			buzzerPrevMillisecondHAL = millisecondHAL;
		}
		buzzerSound(40);

		//General Mode
		if (pressButton1 == true && isPressButton1 == false && !(mode == 100 || mode == 200)){ // increase mode only once
			mode++;
			if(mode == 3){
				mode = 0;
			}
			isPressButton1 = true;
			prevSecondCounter = millisecondHAL;
		}
		//StopWatch Mode
		if (pressButton2 == true && isPressButton2 == false && mode == 1 && isStopWatchRunning != true){ //Reset StopWatch
			isPressButton2 = true;
			resetStopWatch();
			prevSecondCounter = millisecondHAL;
		}
		if (pressButton3 == true && isPressButton3 == false && mode == 1){ //Running/Stop StopWatch
			isPressButton3 = true;
			if(isStopWatchRunning == false){ // press button
				millisecondStopWatch = 0;
				isStopWatchRunning = true;
			}else{
				isStopWatchRunning = false;
			}
			prevSecondCounter = millisecondHAL;
		}
		//Alarm Clock press when want to stop
		if((pressButton1|| pressButton2 || pressButton3 || pressButton4) && alarmIsAlert == true){
			isPressButton1 = true;
			isPressButton2 = true;
			isPressButton3 = true;
			isPressButton4 = true;
			prevSecondCounter = millisecondHAL;
			alarmIsAlert = false;
		}

		//Adjust Time Mode For Mode 0 and 100
		if (pressButton2 == true && isPressButton2 == false && mode == 0){ // initial time when pressButton2
			isPressButton2 = true;
			prevSecondCounter = millisecondHAL;
		}
		else if (pressButton2 == true && isPressButton2 == true && mode == 0 && millisecondHAL - prevSecondCounter >= 3000){ // hold for 3 seconds
			buzzerIsOn = true;
			buzzerPrevMillisecondHAL = millisecondHAL;
			buzzerSound(50);

			modeEdit = 1; // Reset to Year First time
			mode = 100;
			prevSecondCounter = millisecondHAL;
		}
		//Exit Adjust Time Mode
		if (pressButton2 == true && isPressButton2 == false && millisecondHAL - prevSecondCounter >= 1000 && mode == 100){
			isPressButton2 = true;
			modeEdit = 1;  // Reset to Year First time
			mode = 0;
			prevSecondCounter = millisecondHAL;
		}

		//Edit Mode
		if (pressButton1 == true && isPressButton1 == false && mode == 100){ // increase mode only once
			modeEdit++;
			isPressButton1 = true;
			if (modeEdit == 8){	 // finish loop edit
				modeEdit = 1; // Reset to Year
				mode = 0;	  // Back to General Mode
			}
			prevSecondCounter = millisecondHAL;
		}
		//Forward
		if (pressButton3 == true && isPressButton3 == false && mode == 100){ // increase value
			if (modeEdit == 1){
				year--;
			}else if (modeEdit == 2){
				monthIndex--;
			}else if (modeEdit == 3){
				date--;
			}else if (modeEdit == 4){
				dayIndex--;
			}else if (modeEdit == 5){
				hourNum--;
			}else if (modeEdit == 6){
				minuteNum--;
			}else if (modeEdit == 7){
				secondNum = 0;
			}
			halfsecondState = false;
			resetPrevNum();
			isPressButton3 = true;
			prevSecondCounter = millisecondHAL;
		}
		//Backward
		if (pressButton4 == true && isPressButton4 == false && mode == 100){ // decrease value
			if (modeEdit == 1){
				year++;
			}else if (modeEdit == 2){
				monthIndex++;
			}else if (modeEdit == 3){
				date++;
			}else if (modeEdit == 4){
				dayIndex++;
			}else if (modeEdit == 5){
				hourNum++;
			}else if (modeEdit == 6){
				minuteNum++;
			}else if (modeEdit == 7){
				secondNum = 0;
			}
			halfsecondState = false;
			resetPrevNum();
			isPressButton4 = true;
			prevSecondCounter = millisecondHAL;
		}

		//Adjust Alarm Mode For Mode 2 and 200
		if (pressButton2 == true && isPressButton2 == false && mode == 2){ // initial time when pressButton2
			isPressButton2 = true;
			alarmIsOn = !alarmIsOn;
			displayAlarmIcon(alarmIsOn);
			prevSecondCounter = millisecondHAL;
		}
		else if (pressButton2 == true && isPressButton2 == true && mode == 2 && millisecondHAL - prevSecondCounter >= 3000){ // hold for 3 seconds
			buzzerIsOn = true;
			buzzerPrevMillisecondHAL = millisecondHAL;
			buzzerSound(50);

			modeEdit = 1; // Reset to Hour First time
			mode = 200;
			alarmIsOn = true; // always on when editing this alarm
			prevSecondCounter = millisecondHAL;
		}
		//Exit Alarm Time Mode
		if (pressButton2 == true && isPressButton2 == false && millisecondHAL - prevSecondCounter >= 1000 && mode == 200){
			isPressButton2 = true;
			modeEdit = 1;  // Reset to Hour First time
			mode = 2;
			prevSecondCounter = millisecondHAL;
		}

		//Edit Mode
		if (pressButton1 == true && isPressButton1 == false && mode == 200){ // increase mode only once
			modeEdit++;
			isPressButton1 = true;
			if (modeEdit == 3){	 // finish loop edit
				modeEdit = 1; // Reset to Hour
				mode = 2;	  // Back to Alarm Mode
			}
			prevSecondCounter = millisecondHAL;
		}
		//Forward
		if (pressButton3 == true && isPressButton3 == false && mode == 200){ // increase value
			if (modeEdit == 1){
				alarmHour--;
			}else if (modeEdit == 2){
				alarmMinute--;
			}
			halfsecondState = false;
			resetPrevAlarm();
			isPressButton3 = true;
			prevSecondCounter = millisecondHAL;
		}
		//Backward
		if (pressButton4 == true && isPressButton4 == false && mode == 200){ // decrease value
			if (modeEdit == 1){
				alarmHour++;
			}else if (modeEdit == 2){
				alarmMinute++;
			}
			halfsecondState = false;
			resetPrevAlarm();
			isPressButton4 = true;
			prevSecondCounter = millisecondHAL;
		}

		if(millisecondHAL - prevSecondCounter >= 150){
			//Reset isPressButton
			if (pressButton1 == false){
				isPressButton1 = false;
			}
			if (pressButton2 == false){
				isPressButton2 = false;
			}
			if (pressButton3 == false){
				isPressButton3 = false;
			}
			if (pressButton4 == false){
				isPressButton4 = false;
			}
		}
	}
  /* USER CODE END 3 */
}

void SystemClock_Config(void)
{
  RCC_OscInitTypeDef RCC_OscInitStruct = {0};
  RCC_ClkInitTypeDef RCC_ClkInitStruct = {0};
  RCC_PeriphCLKInitTypeDef PeriphClkInitStruct = {0};

  /** Configure LSE Drive Capability
  */
  HAL_PWR_EnableBkUpAccess();
  /** Configure the main internal regulator output voltage
  */
  __HAL_RCC_PWR_CLK_ENABLE();
  __HAL_PWR_VOLTAGESCALING_CONFIG(PWR_REGULATOR_VOLTAGE_SCALE1);
  /** Initializes the RCC Oscillators according to the specified parameters
  * in the RCC_OscInitTypeDef structure.
  */
  RCC_OscInitStruct.OscillatorType = RCC_OSCILLATORTYPE_HSE;
  RCC_OscInitStruct.HSEState = RCC_HSE_BYPASS;
  RCC_OscInitStruct.PLL.PLLState = RCC_PLL_ON;
  RCC_OscInitStruct.PLL.PLLSource = RCC_PLLSOURCE_HSE;
  RCC_OscInitStruct.PLL.PLLM = 4;
  RCC_OscInitStruct.PLL.PLLN = 200;
  RCC_OscInitStruct.PLL.PLLP = RCC_PLLP_DIV2;
  RCC_OscInitStruct.PLL.PLLQ = 9;
  RCC_OscInitStruct.PLL.PLLR = 2;
  if (HAL_RCC_OscConfig(&RCC_OscInitStruct) != HAL_OK)
  {
    Error_Handler();
  }
  /** Activate the Over-Drive mode
  */
  if (HAL_PWREx_EnableOverDrive() != HAL_OK)
  {
    Error_Handler();
  }
  /** Initializes the CPU, AHB and APB buses clocks
  */
  RCC_ClkInitStruct.ClockType = RCC_CLOCKTYPE_HCLK|RCC_CLOCKTYPE_SYSCLK
                              |RCC_CLOCKTYPE_PCLK1|RCC_CLOCKTYPE_PCLK2;
  RCC_ClkInitStruct.SYSCLKSource = RCC_SYSCLKSOURCE_PLLCLK;
  RCC_ClkInitStruct.AHBCLKDivider = RCC_SYSCLK_DIV1;
  RCC_ClkInitStruct.APB1CLKDivider = RCC_HCLK_DIV4;
  RCC_ClkInitStruct.APB2CLKDivider = RCC_HCLK_DIV2;

  if (HAL_RCC_ClockConfig(&RCC_ClkInitStruct, FLASH_LATENCY_6) != HAL_OK)
  {
    Error_Handler();
  }
  PeriphClkInitStruct.PeriphClockSelection = RCC_PERIPHCLK_USART1|RCC_PERIPHCLK_USART3
                              |RCC_PERIPHCLK_UART4|RCC_PERIPHCLK_I2C1
                              |RCC_PERIPHCLK_CLK48;
  PeriphClkInitStruct.Usart1ClockSelection = RCC_USART1CLKSOURCE_PCLK2;
  PeriphClkInitStruct.Usart3ClockSelection = RCC_USART3CLKSOURCE_PCLK1;
  PeriphClkInitStruct.Uart4ClockSelection = RCC_UART4CLKSOURCE_PCLK1;
  PeriphClkInitStruct.I2c1ClockSelection = RCC_I2C1CLKSOURCE_PCLK1;
  PeriphClkInitStruct.Clk48ClockSelection = RCC_CLK48SOURCE_PLL;
  if (HAL_RCCEx_PeriphCLKConfig(&PeriphClkInitStruct) != HAL_OK)
  {
    Error_Handler();
  }
}

/* USER CODE BEGIN 4 */
uint16_t CRC16_2(uint8_t *ptr, uint8_t length){
	uint16_t crc = 0xFFFF;
	uint8_t s = 0x00;

	while (length--){
		crc ^= *ptr++;
		for (s = 0; s < 8; s++){
			if ((crc & 0x01) != 0){
				crc >>= 1;
				crc ^= 0xA001;
			}
			else
				crc >>= 1;
		}
	}
	return crc;
}
void HAL_GPIO_EXTI_Callback(uint16_t GPIO_Pin)
{

	//On Board
	//Blue
	if (GPIO_Pin == GPIO_PIN_13){
		userResetButton = 1;
		sprintf(str, "Interrupt pin13 \n\r");
		HAL_UART_Transmit(&huart3, (uint8_t*) str, strlen(str),200);
	}

}
/* USER CODE END 4 */

void Error_Handler(void)
{
	while (1)
	{
	}
}

/************************ (C) COPYRIGHT STMicroelectronics *****END OF FILE****/
